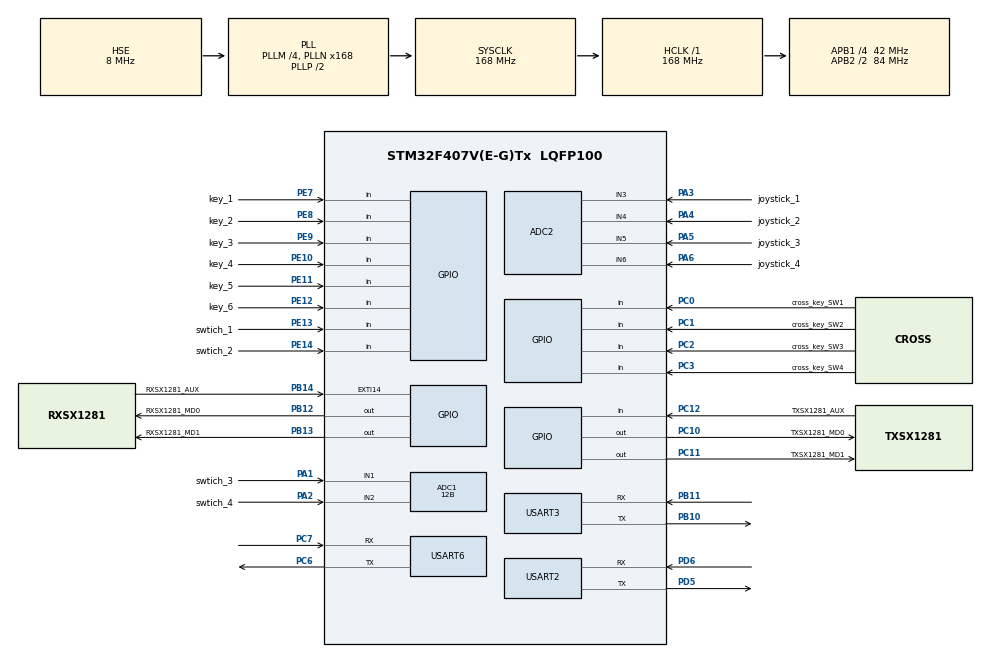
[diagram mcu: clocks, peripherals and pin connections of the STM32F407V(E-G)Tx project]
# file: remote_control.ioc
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ADC1.Channel-3\#ChannelRegularConversion=ADC_CHANNEL_1
ADC1.Channel-4\#ChannelRegularConversion=ADC_CHANNEL_2
ADC1.ClockPrescaler=ADC_CLOCK_SYNC_PCLK_DIV4
ADC1.DMAContinuousRequests=ENABLE
ADC1.ExternalTrigConv=ADC_EXTERNALTRIGCONV_T3_TRGO
ADC1.NbrOfConversion=2
ADC1.NbrOfConversionFlag=1
ADC1.Rank-3\#ChannelRegularConversion=1
ADC1.Rank-4\#ChannelRegularConversion=2
ADC1.Resolution=ADC_RESOLUTION_12B
ADC1.SamplingTime-3\#ChannelRegularConversion=ADC_SAMPLETIME_3CYCLES
ADC1.SamplingTime-4\#ChannelRegularConversion=ADC_SAMPLETIME_3CYCLES
ADC1.ScanConvMode=ENABLE
ADC1.master=1
ADC2.Channel-1\#ChannelRegularConversion=ADC_CHANNEL_3
ADC2.Channel-2\#ChannelRegularConversion=ADC_CHANNEL_4
ADC2.Channel-3\#ChannelRegularConversion=ADC_CHANNEL_5
ADC2.Channel-4\#ChannelRegularConversion=ADC_CHANNEL_6
ADC2.ClockPrescaler=ADC_CLOCK_SYNC_PCLK_DIV4
ADC2.DMAContinuousRequests=ENABLE
ADC2.ExternalTrigConv=ADC_EXTERNALTRIGCONV_T3_TRGO
ADC2.NbrOfConversion=4
ADC2.NbrOfConversionFlag=1
ADC2.Rank-1\#ChannelRegularConversion=1
ADC2.Rank-2\#ChannelRegularConversion=2
ADC2.Rank-3\#ChannelRegularConversion=3
ADC2.Rank-4\#ChannelRegularConversion=4
ADC2.SamplingTime-1\#ChannelRegularConversion=ADC_SAMPLETIME_3CYCLES
ADC2.SamplingTime-2\#ChannelRegularConversion=ADC_SAMPLETIME_3CYCLES
ADC2.SamplingTime-3\#ChannelRegularConversion=ADC_SAMPLETIME_3CYCLES
ADC2.SamplingTime-4\#ChannelRegularConversion=ADC_SAMPLETIME_3CYCLES
ADC2.ScanConvMode=ENABLE
Dma.ADC1.4.Direction=DMA_PERIPH_TO_MEMORY
Dma.ADC1.4.FIFOMode=DMA_FIFOMODE_DISABLE
Dma.ADC1.4.Instance=DMA2_Stream0
Dma.ADC1.4.MemDataAlignment=DMA_MDATAALIGN_HALFWORD
Dma.ADC1.4.MemInc=DMA_MINC_ENABLE
Dma.ADC1.4.Mode=DMA_CIRCULAR
Dma.ADC1.4.PeriphDataAlignment=DMA_PDATAALIGN_HALFWORD
Dma.ADC1.4.PeriphInc=DMA_PINC_DISABLE
Dma.ADC1.4.Priority=DMA_PRIORITY_LOW
Dma.ADC2.5.Direction=DMA_PERIPH_TO_MEMORY
Dma.ADC2.5.FIFOMode=DMA_FIFOMODE_DISABLE
Dma.ADC2.5.Instance=DMA2_Stream2
Dma.ADC2.5.MemDataAlignment=DMA_MDATAALIGN_HALFWORD
Dma.ADC2.5.MemInc=DMA_MINC_ENABLE
Dma.ADC2.5.Mode=DMA_CIRCULAR
Dma.ADC2.5.PeriphDataAlignment=DMA_PDATAALIGN_HALFWORD
Dma.ADC2.5.PeriphInc=DMA_PINC_DISABLE
Dma.ADC2.5.Priority=DMA_PRIORITY_LOW
Dma.Request0=USART2_RX
Dma.Request1=USART2_TX
Dma.Request2=USART3_RX
Dma.Request3=USART3_TX
Dma.Request4=ADC1
Dma.Request5=ADC2
Dma.Request6=USART6_RX
Dma.Request7=USART6_TX
Dma.USART2_RX.0.Direction=DMA_PERIPH_TO_MEMORY
Dma.USART2_RX.0.FIFOMode=DMA_FIFOMODE_DISABLE
Dma.USART2_RX.0.Instance=DMA1_Stream5
Dma.USART2_RX.0.MemDataAlignment=DMA_MDATAALIGN_BYTE
Dma.USART2_RX.0.MemInc=DMA_MINC_ENABLE
Dma.USART2_RX.0.Mode=DMA_NORMAL
Dma.USART2_RX.0.PeriphDataAlignment=DMA_PDATAALIGN_BYTE
Dma.USART2_RX.0.PeriphInc=DMA_PINC_DISABLE
Dma.USART2_RX.0.Priority=DMA_PRIORITY_LOW
Dma.USART2_TX.1.Direction=DMA_MEMORY_TO_PERIPH
Dma.USART2_TX.1.FIFOMode=DMA_FIFOMODE_DISABLE
Dma.USART2_TX.1.Instance=DMA1_Stream6
Dma.USART2_TX.1.MemDataAlignment=DMA_MDATAALIGN_BYTE
Dma.USART2_TX.1.MemInc=DMA_MINC_ENABLE
Dma.USART2_TX.1.Mode=DMA_NORMAL
Dma.USART2_TX.1.PeriphDataAlignment=DMA_PDATAALIGN_BYTE
Dma.USART2_TX.1.PeriphInc=DMA_PINC_DISABLE
Dma.USART2_TX.1.Priority=DMA_PRIORITY_LOW
Dma.USART3_RX.2.Direction=DMA_PERIPH_TO_MEMORY
Dma.USART3_RX.2.FIFOMode=DMA_FIFOMODE_DISABLE
Dma.USART3_RX.2.Instance=DMA1_Stream1
Dma.USART3_RX.2.MemDataAlignment=DMA_MDATAALIGN_BYTE
Dma.USART3_RX.2.MemInc=DMA_MINC_ENABLE
Dma.USART3_RX.2.Mode=DMA_NORMAL
Dma.USART3_RX.2.PeriphDataAlignment=DMA_PDATAALIGN_BYTE
Dma.USART3_RX.2.PeriphInc=DMA_PINC_DISABLE
Dma.USART3_RX.2.Priority=DMA_PRIORITY_LOW
Dma.USART3_TX.3.Direction=DMA_MEMORY_TO_PERIPH
Dma.USART3_TX.3.FIFOMode=DMA_FIFOMODE_DISABLE
Dma.USART3_TX.3.Instance=DMA1_Stream3
Dma.USART3_TX.3.MemDataAlignment=DMA_MDATAALIGN_BYTE
Dma.USART3_TX.3.MemInc=DMA_MINC_ENABLE
Dma.USART3_TX.3.Mode=DMA_NORMAL
Dma.USART3_TX.3.PeriphDataAlignment=DMA_PDATAALIGN_BYTE
Dma.USART3_TX.3.PeriphInc=DMA_PINC_DISABLE
Dma.USART3_TX.3.Priority=DMA_PRIORITY_LOW
Dma.USART6_RX.6.Direction=DMA_PERIPH_TO_MEMORY
Dma.USART6_RX.6.FIFOMode=DMA_FIFOMODE_DISABLE
Dma.USART6_RX.6.Instance=DMA2_Stream1
Dma.USART6_RX.6.MemDataAlignment=DMA_MDATAALIGN_BYTE
Dma.USART6_RX.6.MemInc=DMA_MINC_ENABLE
Dma.USART6_RX.6.Mode=DMA_NORMAL
Dma.USART6_RX.6.PeriphDataAlignment=DMA_PDATAALIGN_BYTE
Dma.USART6_RX.6.PeriphInc=DMA_PINC_DISABLE
Dma.USART6_RX.6.Priority=DMA_PRIORITY_LOW
Dma.USART6_TX.7.Direction=DMA_MEMORY_TO_PERIPH
Dma.USART6_TX.7.FIFOMode=DMA_FIFOMODE_DISABLE
Dma.USART6_TX.7.Instance=DMA2_Stream6
Dma.USART6_TX.7.MemDataAlignment=DMA_MDATAALIGN_BYTE
Dma.USART6_TX.7.MemInc=DMA_MINC_ENABLE
Dma.USART6_TX.7.Mode=DMA_NORMAL
Dma.USART6_TX.7.PeriphDataAlignment=DMA_PDATAALIGN_BYTE
Dma.USART6_TX.7.PeriphInc=DMA_PINC_DISABLE
Dma.USART6_TX.7.Priority=DMA_PRIORITY_LOW
FREERTOS.Tasks01=defaultTask,24,128,StartDefaultTask,Default,NULL,Dynamic,NULL,NULL;Display,8,128,Display_task,Default,NULL,Dynamic,NULL,NULL;Communication,8,128,Communication_task,Default,NULL,Dynamic,NULL,NULL;Button,8,128,Button_task,Default,NULL,Dynamic,NULL,NULL
Mcu.Family=STM32F4
Mcu.Name=STM32F407V(E-G)Tx
Mcu.Package=LQFP100
NVIC.DMA1_Stream1_IRQn=true\:5\:0\:false\:false\:true\:true\:false\:true\:true
NVIC.DMA1_Stream3_IRQn=true\:5\:0\:false\:false\:true\:true\:false\:true\:true
NVIC.DMA1_Stream5_IRQn=true\:5\:0\:false\:false\:true\:true\:false\:true\:true
NVIC.DMA1_Stream6_IRQn=true\:5\:0\:false\:false\:true\:true\:false\:true\:true
NVIC.DMA2_Stream0_IRQn=true\:5\:0\:false\:false\:true\:true\:false\:true\:true
NVIC.DMA2_Stream1_IRQn=true\:5\:0\:false\:false\:true\:true\:false\:true\:true
NVIC.DMA2_Stream2_IRQn=true\:5\:0\:false\:false\:true\:true\:false\:true\:true
NVIC.DMA2_Stream6_IRQn=true\:5\:0\:false\:false\:true\:true\:false\:true\:true
NVIC.EXTI15_10_IRQn=true\:5\:0\:false\:false\:true\:true\:true\:true\:true
NVIC.PriorityGroup=NVIC_PRIORITYGROUP_4
NVIC.TIM1_UP_TIM10_IRQn=true\:5\:0\:false\:false\:true\:true\:true\:true\:true
NVIC.TIM2_IRQn=true\:15\:0\:false\:false\:true\:false\:false\:true\:true
NVIC.TimeBase=TIM2_IRQn
NVIC.TimeBaseIP=TIM2
NVIC.USART2_IRQn=true\:5\:0\:false\:false\:true\:true\:false\:true\:true
NVIC.USART3_IRQn=true\:5\:0\:false\:false\:true\:true\:false\:true\:true
PA1.GPIO_Label=swtich_3
PA1.Signal=ADCx_IN1
PA13.Mode=Serial_Wire
PA13.Signal=SYS_JTMS-SWDIO
PA14.Mode=Serial_Wire
PA14.Signal=SYS_JTCK-SWCLK
PA2.GPIO_Label=swtich_4
PA2.Signal=ADCx_IN2
PA3.GPIO_Label=joystick_1
PA3.Signal=ADCx_IN3
PA4.GPIO_Label=joystick_2
PA4.Signal=ADCx_IN4
PA5.GPIO_Label=joystick_3
PA5.Signal=ADCx_IN5
PA6.GPIO_Label=joystick_4
PA6.Signal=ADCx_IN6
PB10.Mode=Asynchronous
PB10.Signal=USART3_TX
PB11.Mode=Asynchronous
PB11.Signal=USART3_RX
PB12.GPIO_Label=RXSX1281_MD0
PB12.Signal=GPIO_Output
PB13.GPIO_Label=RXSX1281_MD1
PB13.Signal=GPIO_Output
PB14.GPIO_Label=RXSX1281_AUX
PB14.GPIO_PuPd=GPIO_PULLDOWN
PB14.Signal=GPXTI14
PC0.GPIO_Label=cross_key_SW1
PC0.GPIO_PuPd=GPIO_PULLDOWN
PC0.Signal=GPIO_Input
PC1.GPIO_Label=cross_key_SW2
PC1.GPIO_PuPd=GPIO_PULLDOWN
PC1.Signal=GPIO_Input
PC10.GPIO_Label=TXSX1281_MD0
PC10.Signal=GPIO_Output
PC11.GPIO_Label=TXSX1281_MD1
PC11.Signal=GPIO_Output
PC12.GPIO_Label=TXSX1281_AUX
PC12.Signal=GPIO_Input
PC2.GPIO_Label=cross_key_SW3
PC2.GPIO_PuPd=GPIO_PULLDOWN
PC2.Signal=GPIO_Input
PC3.GPIO_Label=cross_key_SW4
PC3.GPIO_PuPd=GPIO_PULLDOWN
PC3.Signal=GPIO_Input
PC6.Mode=Asynchronous
PC6.Signal=USART6_TX
PC7.Mode=Asynchronous
PC7.Signal=USART6_RX
PD5.Mode=Asynchronous
PD5.Signal=USART2_TX
PD6.Mode=Asynchronous
PD6.Signal=USART2_RX
PE10.GPIO_Label=key_4
PE10.GPIO_PuPd=GPIO_PULLDOWN
PE10.Signal=GPIO_Input
PE11.GPIO_Label=key_5
PE11.GPIO_PuPd=GPIO_PULLDOWN
PE11.Signal=GPIO_Input
PE12.GPIO_Label=key_6
PE12.GPIO_PuPd=GPIO_PULLDOWN
PE12.Signal=GPIO_Input
PE13.GPIO_Label=swtich_1
PE13.GPIO_PuPd=GPIO_PULLDOWN
PE13.Signal=GPIO_Input
PE14.GPIO_Label=swtich_2
PE14.GPIO_PuPd=GPIO_PULLDOWN
PE14.Signal=GPIO_Input
PE7.GPIO_Label=key_1
PE7.GPIO_PuPd=GPIO_PULLDOWN
PE7.Signal=GPIO_Input
PE8.GPIO_Label=key_2
PE8.GPIO_PuPd=GPIO_PULLDOWN
PE8.Signal=GPIO_Input
PE9.GPIO_Label=key_3
PE9.GPIO_PuPd=GPIO_PULLDOWN
PE9.Signal=GPIO_Input
PH0-OSC_IN.Mode=HSE-External-Oscillator
PH0-OSC_IN.Signal=RCC_OSC_IN
PH1-OSC_OUT.Mode=HSE-External-Oscillator
PH1-OSC_OUT.Signal=RCC_OSC_OUT
ProjectManager.HeapSize=0x200
ProjectManager.StackSize=0x400
ProjectManager.TargetToolchain=MDK-ARM V5.32
RCC.48MHZClocksFreq_Value=84000000
RCC.AHBFreq_Value=168000000
RCC.APB1CLKDivider=RCC_HCLK_DIV4
RCC.APB1Freq_Value=42000000
RCC.APB1TimFreq_Value=84000000
RCC.APB2CLKDivider=RCC_HCLK_DIV2
RCC.APB2Freq_Value=84000000
RCC.APB2TimFreq_Value=168000000
RCC.CortexFreq_Value=168000000
RCC.HCLKFreq_Value=168000000
RCC.HSE_VALUE=8000000
RCC.HSI_VALUE=16000000
RCC.LSE_VALUE=32768
RCC.PLLM=4
RCC.PLLN=168
RCC.PLLSourceVirtual=RCC_PLLSOURCE_HSE
RCC.SYSCLKFreq_VALUE=168000000
RCC.SYSCLKSource=RCC_SYSCLKSOURCE_PLLCLK
RCC.VCOOutputFreq_Value=336000000
SH.ADCx_IN1.0=ADC1_IN1,IN1
SH.ADCx_IN2.0=ADC1_IN2,IN2
SH.ADCx_IN3.0=ADC2_IN3,IN3
SH.ADCx_IN4.0=ADC2_IN4,IN4
SH.ADCx_IN5.0=ADC2_IN5,IN5
SH.ADCx_IN6.0=ADC2_IN6,IN6
TIM1.Period=300-1
TIM1.Prescaler=16800-1
TIM3.Channel-PWM\ Generation4\ No\ Output=TIM_CHANNEL_4
TIM3.TIM_MasterOutputTrigger=TIM_TRGO_UPDATE
USART2.VirtualMode=VM_ASYNC
USART3.VirtualMode=VM_ASYNC
USART6.VirtualMode=VM_ASYNC
VP_FREERTOS_VS_CMSIS_V2.Mode=CMSIS_V2
VP_SYS_VS_tim2.Mode=TIM2
VP_TIM1_VS_ClockSourceINT.Mode=Internal
VP_TIM3_VS_no_output4.Mode=PWM Generation4 No Output
board=custom

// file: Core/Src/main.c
/* USER CODE BEGIN Header */
/**
  ******************************************************************************
  * @file           : main.c
  * @brief          : Main program body
  ******************************************************************************
  * @attention
  *
  * Copyright (c) 2026 STMicroelectronics.
  * All rights reserved.
  *
  * This software is licensed under terms that can be found in the LICENSE file
  * in the root directory of this software component.
  * If no LICENSE file comes with this software, it is provided AS-IS.
  *
  ******************************************************************************
  */
/* USER CODE END Header */
#include "main.h"
#include "cmsis_os.h"
#include "adc.h"
#include "dma.h"
#include "tim.h"
#include "usart.h"
#include "gpio.h"

/* USER CODE BEGIN Includes */
#include "communication.h"
#include "joystick.h"
#include "key.h"
#include "tjc_huart_hmi.h"
/* USER CODE END Includes */

void SystemClock_Config(void);
void MX_FREERTOS_Init(void);

int main(void)
{

  /* MCU Configuration--------------------------------------------------------*/

  /* Reset of all peripherals, Initializes the Flash interface and the Systick. */
  HAL_Init();

  /* Configure the system clock */
  SystemClock_Config();

  /* Initialize all configured peripherals */
  MX_GPIO_Init();
  MX_DMA_Init();
  MX_TIM1_Init();
  MX_USART2_UART_Init();
  MX_USART3_UART_Init();
  MX_ADC1_Init();
  MX_ADC2_Init();
  MX_TIM3_Init();
  MX_USART6_UART_Init();
  /* USER CODE BEGIN 2 */
	HAL_TIM_Base_Start_IT(&htim1);
  /* USER CODE END 2 */

  /* Init scheduler */
  osKernelInitialize();  /* Call init function for freertos objects (in cmsis_os2.c) */
  MX_FREERTOS_Init();

  /* Start scheduler */
  osKernelStart();

  /* We should never get here as control is now taken by the scheduler */

  /* Infinite loop */
  while (1)
  {

  }
}

void SystemClock_Config(void)
{
  RCC_OscInitTypeDef RCC_OscInitStruct = {0};
  RCC_ClkInitTypeDef RCC_ClkInitStruct = {0};

  /** Configure the main internal regulator output voltage
  */
  __HAL_RCC_PWR_CLK_ENABLE();
  __HAL_PWR_VOLTAGESCALING_CONFIG(PWR_REGULATOR_VOLTAGE_SCALE1);

  /** Initializes the RCC Oscillators according to the specified parameters
  * in the RCC_OscInitTypeDef structure.
  */
  RCC_OscInitStruct.OscillatorType = RCC_OSCILLATORTYPE_HSE;
  RCC_OscInitStruct.HSEState = RCC_HSE_ON;
  RCC_OscInitStruct.PLL.PLLState = RCC_PLL_ON;
  RCC_OscInitStruct.PLL.PLLSource = RCC_PLLSOURCE_HSE;
  RCC_OscInitStruct.PLL.PLLM = 4;
  RCC_OscInitStruct.PLL.PLLN = 168;
  RCC_OscInitStruct.PLL.PLLP = RCC_PLLP_DIV2;
  RCC_OscInitStruct.PLL.PLLQ = 4;
  if (HAL_RCC_OscConfig(&RCC_OscInitStruct) != HAL_OK)
  {
    Error_Handler();
  }

  /** Initializes the CPU, AHB and APB buses clocks
  */
  RCC_ClkInitStruct.ClockType = RCC_CLOCKTYPE_HCLK|RCC_CLOCKTYPE_SYSCLK
                              |RCC_CLOCKTYPE_PCLK1|RCC_CLOCKTYPE_PCLK2;
  RCC_ClkInitStruct.SYSCLKSource = RCC_SYSCLKSOURCE_PLLCLK;
  RCC_ClkInitStruct.AHBCLKDivider = RCC_SYSCLK_DIV1;
  RCC_ClkInitStruct.APB1CLKDivider = RCC_HCLK_DIV4;
  RCC_ClkInitStruct.APB2CLKDivider = RCC_HCLK_DIV2;

  if (HAL_RCC_ClockConfig(&RCC_ClkInitStruct, FLASH_LATENCY_5) != HAL_OK)
  {
    Error_Handler();
  }
}

/* USER CODE BEGIN 4 */
void HAL_UARTEx_RxEventCallback(UART_HandleTypeDef *huart, uint16_t size)
{
    Comm_UartRx_Callback_Wrapper(huart, size);
    HMI_UartRx_Callback_Wrapper(huart, size);

}

void HAL_UART_ErrorCallback(UART_HandleTypeDef *huart)
{
    Comm_UartError_Callback_Wrapper(huart);
    HMI_UartTxCplt_Callback_Wrapper(huart);

}

void HAL_UART_TxCpltCallback(UART_HandleTypeDef *huart)
{
    Comm_UartTxCplt_Callback_Wrapper(huart);
    HMI_UartError_Callback_Wrapper(huart);
}

void HAL_ADC_ConvCpltCallback(ADC_HandleTypeDef* hadc)
{
    JOY_AdcConvCplt_Callback_Wrapper(hadc);
    KEY_AdcConvCplt_Callback_Wrapper(hadc);
}

extern osThreadId_t CommunicationHandle;

// HAL库当外部中断发生时会调用这个函数
void HAL_GPIO_EXTI_Callback(uint16_t GPIO_Pin)
{
    if(GPIO_Pin == GPIO_PIN_14)
    {
        // 如果还需要做双重电平确认（防抖）：
        // if(HAL_GPIO_ReadPin(GPIOB, GPIO_PIN_14) == GPIO_PIN_SET)

        BaseType_t xHigherPriorityTaskWoken = pdFALSE;

        // 发送任务通知给Communication_task解除挂起状态
        vTaskNotifyGiveFromISR( (TaskHandle_t)CommunicationHandle, &xHigherPriorityTaskWoken );

        // 如果唤醒的通信任务优先级比当前正在执行的任务优先级高，要求立即进行任务切换
        portYIELD_FROM_ISR(xHigherPriorityTaskWoken);
    }
}
/* USER CODE END 4 */

void HAL_TIM_PeriodElapsedCallback(TIM_HandleTypeDef *htim)
{
  if (htim->Instance == TIM2)
  {
    HAL_IncTick();
  }
  /* USER CODE BEGIN Callback 1 */
  else if (htim->Instance == TIM1)
  {
    // Comm_Timer_Callback_Wrapper();
  }
  /* USER CODE END Callback 1 */
}

void Error_Handler(void)
{
  __disable_irq();
  while (1)
  {
  }
}

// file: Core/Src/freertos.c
/* USER CODE BEGIN Header */
/**
  ******************************************************************************
  * File Name          : freertos.c
  * Description        : Code for freertos applications
  ******************************************************************************
  * @attention
  *
  * Copyright (c) 2026 STMicroelectronics.
  * All rights reserved.
  *
  * This software is licensed under terms that can be found in the LICENSE file
  * in the root directory of this software component.
  * If no LICENSE file comes with this software, it is provided AS-IS.
  *
  ******************************************************************************
  */
/* USER CODE END Header */

#include "FreeRTOS.h"
#include "task.h"
#include "main.h"
#include "cmsis_os.h"

/* USER CODE BEGIN Includes */
#include "adc.h"
#include "communication.h"
#include "button.h"
#include "joystick.h"
#include "key.h"
#include "tjc_huart_hmi.h"
#include "stm32f4xx.h"
/* USER CODE END Includes */

/* Definitions for defaultTask */
osThreadId_t defaultTaskHandle;
const osThreadAttr_t defaultTask_attributes = {
  .name = "defaultTask",
  .stack_size = 128 * 4,
  .priority = (osPriority_t) osPriorityNormal,
};
/* Definitions for Display */
osThreadId_t DisplayHandle;
const osThreadAttr_t Display_attributes = {
  .name = "Display",
  .stack_size = 128 * 4,
  .priority = (osPriority_t) osPriorityLow,
};
/* Definitions for Communication */
osThreadId_t CommunicationHandle;
const osThreadAttr_t Communication_attributes = {
  .name = "Communication",
  .stack_size = 128 * 4,
  .priority = (osPriority_t) osPriorityLow,
};
/* Definitions for Button */
osThreadId_t ButtonHandle;
const osThreadAttr_t Button_attributes = {
  .name = "Button",
  .stack_size = 128 * 4,
  .priority = (osPriority_t) osPriorityLow,
};

void StartDefaultTask(void *argument);
void Display_task(void *argument);
void Communication_task(void *argument);
void Button_task(void *argument);

void MX_FREERTOS_Init(void); /* (MISRA C 2004 rule 8.1) */

void MX_FREERTOS_Init(void) {

  /* Create the thread(s) */
  /* creation of defaultTask */
  defaultTaskHandle = osThreadNew(StartDefaultTask, NULL, &defaultTask_attributes);

  /* creation of Display */
  DisplayHandle = osThreadNew(Display_task, NULL, &Display_attributes);

  /* creation of Communication */
  CommunicationHandle = osThreadNew(Communication_task, NULL, &Communication_attributes);

  /* creation of Button */
  ButtonHandle = osThreadNew(Button_task, NULL, &Button_attributes);

}

void StartDefaultTask(void *argument)
{
  for(;;)
  {
    osDelay(1);
  }
}

void Display_task(void *argument)
{
  /* USER CODE BEGIN Display_task */
  HMI_Task_Init(&huart2);
  /* Infinite loop */
  for(;;)
  {
    HMI_Task_Loop();
    osDelay(1);
  }
  /* USER CODE END Display_task */
}

void Communication_task(void *argument)
{
  /* USER CODE BEGIN Communication_task */
  CoreDebug->DEMCR |= CoreDebug_DEMCR_TRCENA_Msk;
  DWT->CYCCNT = 0;
  DWT->CTRL |= DWT_CTRL_CYCCNTENA_Msk;
  Communication_Task_Init(&huart3);
  Comm_Timer_Callback_Wrapper();
  for(;;)
  {
      // 这里的 ulTaskNotifyTake 会挂起任务，直到中断ISR里面给出通知才继续往下走
      // osWaitForever 表示无限期等待。此时任务不消耗任何CPU
      ulTaskNotifyTake(pdTRUE, portMAX_DELAY);

      if(tx_cnt < 1000)
      {
          Comm_Timer_Callback_Wrapper();
          tx_cnt++;
          last_tx_stamp = tx_stamp;
          tx_stamp = DWT->CYCCNT / 168; // 你的微秒计时光标获取
      }

//      Communication_Task_Loop();
  }
  /* USER CODE END Communication_task */
}

void Button_task(void *argument)
{
  /* USER CODE BEGIN Button_task */
  Joystick_Task_Init(&hadc2);
  Key_Task_Init(&hadc1);
  Button_Task_Init();
  /* Infinite loop */
  for(;;)
  {
    Joystick_Task_Loop();
    Key_Task_Loop();
    Button_Task_Loop();
    Communication_Task_Loop();
    osDelay(1);
  }
  /* USER CODE END Button_task */
}
